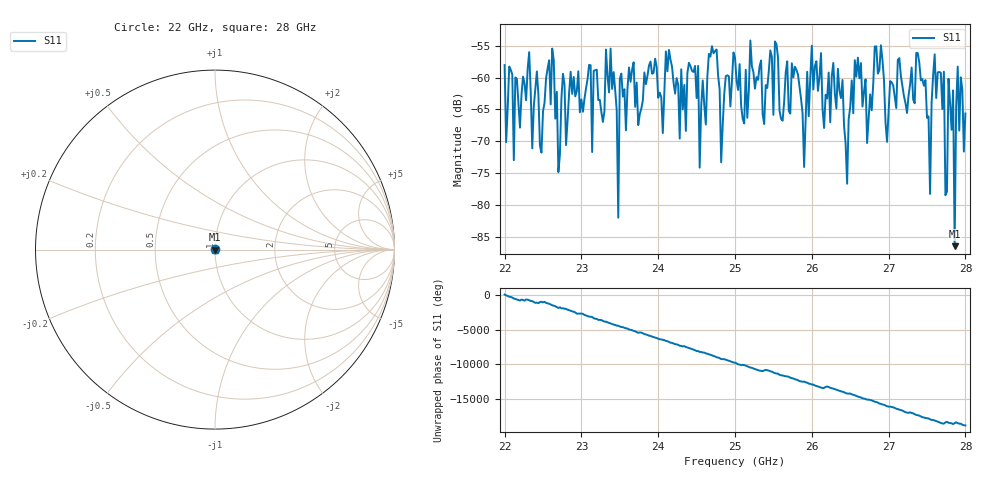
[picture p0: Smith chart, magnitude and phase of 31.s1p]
#  HZ  S  RI  R  50.00
! Rohde & Schwarz ZVA40 4Ports - Version 3.90 - 1145.1110k42 SN: 100403
! Date: 2023-10-04 11:34:14
! Measurement: S12
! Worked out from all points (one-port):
!   301 points, 22 GHz to 28 GHz, reference 50 ohm
!   lowest |S11| = -86.5 dB at 27.86 GHz (marker M1), VSWR 1.00, Z = 50 - j0.00104 ohm
!   |S11| at or under -10 dB: start of sweep to end of sweep
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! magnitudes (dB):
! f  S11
! 22 GHz  -58.0
! 22.48 GHz  -71.8
! 22.62 GHz  -55.4
! 22.7 GHz  -74.8
! 22.76 GHz  -59.4
! 23.14 GHz  -71.7
! 23.38 GHz  -55.4
! 23.48 GHz  -82.0
! 23.5 GHz  -60.2
! 24.26 GHz  -61.1
! 24.52 GHz  -58.2
! 24.54 GHz  -74.1
! 24.76 GHz  -55.6
! 24.82 GHz  -73.3
! 25 GHz  -56.8
! 25.76 GHz  -60.0
! 25.9 GHz  -74.0
! 26.5 GHz  -64.7
! 27.26 GHz  -62.8
! 27.48 GHz  -60.4
! 27.54 GHz  -78.3
! 27.6 GHz  -56.3
! 27.72 GHz  -59.1
! 27.74 GHz  -78.5
! 27.78 GHz  -60.2
! 27.86 GHz  -86.5
! 27.9 GHz  -58.3
! 28 GHz  -65.6
